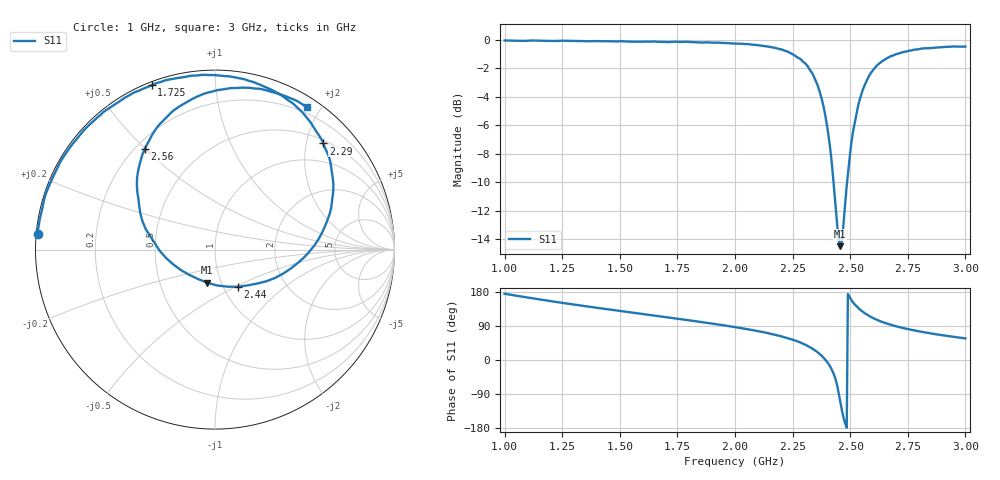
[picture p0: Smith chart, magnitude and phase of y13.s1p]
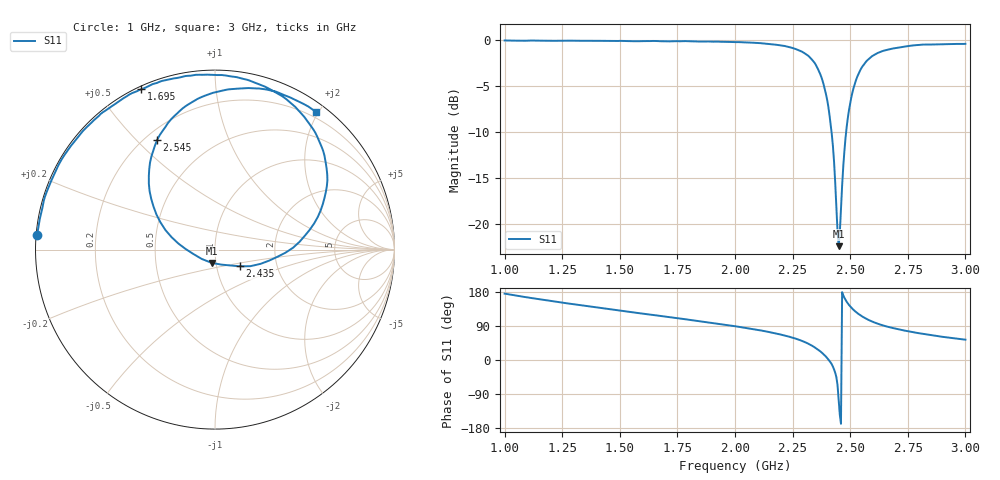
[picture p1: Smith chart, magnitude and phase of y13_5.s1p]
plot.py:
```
import skrf as rf
import matplotlib.pyplot as plt
import numpy as np
import re


path1 = "y13.s1p"
path2 = "y13_5.s1p"
path3 = "y14.s1p"
path4 = "y15.s1p"
paths = [path1, path2, path3, path4]


def plot_all_feeds():
    for i in paths:
        ntwk = rf.Network(i)
        ntwk.plot_s_smith(m=0, n=0)  # m=n=0 means S11





    plt.title("S11 Smith Chart for all antenna feeds")
    plt.savefig("Pictures/S11_Smith_Chart_all.png", dpi=300, bbox_inches='tight')
    plt.show()

def plot_all_feeds_normal_graph():
    for i in paths:
        ntwk = rf.Network(i)
        ntwk.plot_s_db(m=0, n=0)  # m=n=0 means S11





    plt.title("S11 for all antenna feeds")
    plt.savefig("Pictures/S11_Normal_Graph_all.png", dpi=300, bbox_inches='tight')
    plt.show()


def plot_individual_feeds():
    for i in paths:
        ntwk = rf.Network(i)
        ntwk.plot_s_smith(m=0, n=0)  # m=n=0 means S11
        match = re.match(r"y([\d_]+)\.", i)
    
        print(match.group(1).replace("_", "."))
        plt.title("S11 Smith Chart for antenna with feedpoint at y = " + match.group(1).replace("_", ".") + "mm")
        plt.savefig("Pictures/S11_Smith_Chart_" + match.group(1).replace("_", ".") + ".png", dpi=300, bbox_inches='tight')
        plt.show()



def find_smallest_s11():
    for i in paths:
        ntwk = rf.Network(i)
        freq = ntwk.f
        s11 = ntwk.s[:,0,0]
        idx_min = np.argmin(np.abs(s11))
        print(f"Smallest |S11| for {i} is {np.abs(s11[idx_min])} at frequency {freq[idx_min]/1e9:.2f} GHz")

plot_all_feeds_normal_graph()
```
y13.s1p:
!  02.03.2026  10:38:16
! Ref Plane: 0.000 mm
# MHZ S MA R  50
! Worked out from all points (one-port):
!   401 points, 1 GHz to 3 GHz, reference 50 ohm
!   lowest |S11| = -14.5 dB at 2.455 GHz (marker M1), VSWR 1.47, Z = 42.8 - j16.3 ohm
!   |S11| at or under -10 dB: 2.428 GHz to 2.486 GHz (58.77 MHz wide, 2.39 % of centre)
!   S11 on the Smith chart (normalised r, x): 1 GHz: 0.00, +0.05; 1.725 GHz: 0.01, +0.69; 2.29 GHz: 0.56, +2.33; 2.44 GHz: 1.17, -0.51; 2.56 GHz: 0.24, +0.50; 3 GHz: 0.12, +1.84
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1000  0.9927 174.8
1330  0.988 143.8
1670  0.9815 115.7
1725  0.981 111.1
2085  0.9585 77.9
2290  0.8451 44.4
2335  0.7622 30.3
2390  0.553 2.2
2440  0.2426 -58.7
2455  0.1891 -103.7
2505  0.4344 158.6
2560  0.6838 124.9
2700  0.8893 88.9
3000  0.9456 57.0
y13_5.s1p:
!  02.03.2026  10:40:37
! Ref Plane: 0.000 mm
# MHZ S MA R  50
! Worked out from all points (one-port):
!   401 points, 1 GHz to 3 GHz, reference 50 ohm
!   lowest |S11| = -22.4 dB at 2.45 GHz (marker M1), VSWR 1.17, Z = 47.6 - j7.07 ohm
!   |S11| at or under -10 dB: 2.419 GHz to 2.482 GHz (63.21 MHz wide, 2.58 % of centre)
!   S11 on the Smith chart (normalised r, x): 1 GHz: 0.00, +0.04; 1.695 GHz: 0.01, +0.64; 2.435 GHz: 1.30, -0.25; 2.545 GHz: 0.25, +0.58; 3 GHz: 0.12, +1.97
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1000  0.9932 175.2
1325  0.9893 144.9
1670  0.9845 116.8
1695  0.9835 114.8
2115  0.9591 77.7
2245  0.9078 59.8
2335  0.7793 37.5
2400  0.4734 5.3
2435  0.1681 -33.8
2450  0.07626 -104.6
2490  0.3803 149.1
2545  0.6904 117.8
2680  0.896 85.2
3000  0.952 53.6
